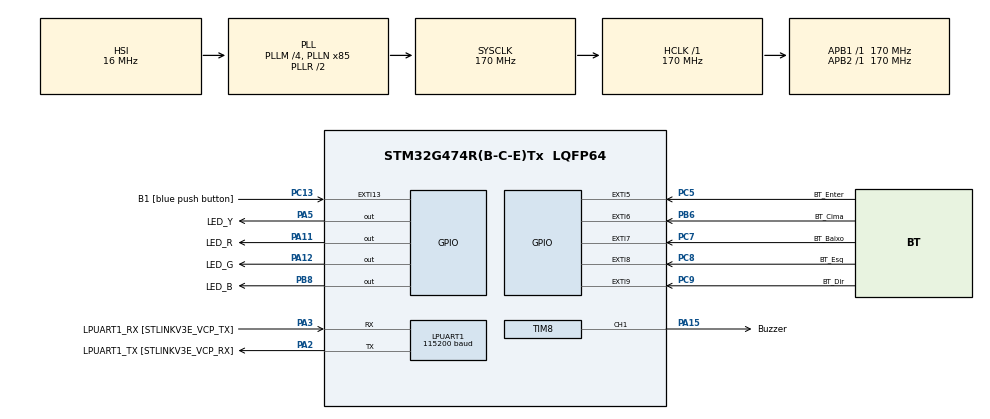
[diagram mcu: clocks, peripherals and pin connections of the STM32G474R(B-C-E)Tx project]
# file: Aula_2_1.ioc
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LPUART1.BaudRate=115200
LPUART1.WordLength=UART_WORDLENGTH_8B
Mcu.Family=STM32G4
Mcu.Name=STM32G474R(B-C-E)Tx
Mcu.Package=LQFP64
NVIC.EXTI15_10_IRQn=true\:0\:0\:false\:false\:true\:true\:true\:true
NVIC.EXTI9_5_IRQn=true\:0\:0\:false\:false\:true\:true\:true\:true
NVIC.PriorityGroup=NVIC_PRIORITYGROUP_4
NVIC.TIM6_DAC_IRQn=true\:0\:0\:false\:false\:true\:true\:true\:true
PA11.GPIO_Label=LED_R
PA11.Signal=GPIO_Output
PA12.GPIO_Label=LED_G
PA12.Signal=GPIO_Output
PA13.GPIO_Label=T_SWDIO
PA13.Mode=Serial_Wire
PA13.Signal=SYS_JTMS-SWDIO
PA14.GPIO_Label=T_SWCLK
PA14.Mode=Serial_Wire
PA14.Signal=SYS_JTCK-SWCLK
PA15.GPIO_Label=Buzzer
PA15.Signal=S_TIM8_CH1
PA2.GPIO_Label=LPUART1_TX [STLINKV3E_VCP_RX]
PA2.Mode=Asynchronous
PA2.Signal=LPUART1_TX
PA3.GPIO_Label=LPUART1_RX [STLINKV3E_VCP_TX]
PA3.Mode=Asynchronous
PA3.Signal=LPUART1_RX
PA5.GPIO_Label=LED_Y
PA5.Signal=GPIO_Output
PB3.GPIO_Label=T_SWO
PB3.Signal=SYS_JTDO-SWO
PB6.GPIO_Label=BT_Cima
PB6.GPIO_ModeDefaultEXTI=GPIO_MODE_IT_RISING_FALLING
PB6.Signal=GPXTI6
PB8-BOOT0.GPIO_Label=LED_B
PB8-BOOT0.Signal=GPIO_Output
PC13.GPIO_Label=B1 [blue push button]
PC13.GPIO_ModeDefaultEXTI=GPIO_MODE_IT_RISING_FALLING
PC13.Signal=GPXTI13
PC14-OSC32_IN.Mode=LSE-External-Oscillator
PC14-OSC32_IN.Signal=RCC_OSC32_IN
PC15-OSC32_OUT.Mode=LSE-External-Oscillator
PC15-OSC32_OUT.Signal=RCC_OSC32_OUT
PC5.GPIO_Label=BT_Enter
PC5.GPIO_ModeDefaultEXTI=GPIO_MODE_IT_RISING_FALLING
PC5.Signal=GPXTI5
PC7.GPIO_Label=BT_Baixo
PC7.GPIO_ModeDefaultEXTI=GPIO_MODE_IT_RISING_FALLING
PC7.Signal=GPXTI7
PC8.GPIO_Label=BT_Esq
PC8.GPIO_ModeDefaultEXTI=GPIO_MODE_IT_RISING_FALLING
PC8.Signal=GPXTI8
PC9.GPIO_Label=BT_Dir
PC9.GPIO_ModeDefaultEXTI=GPIO_MODE_IT_RISING_FALLING
PC9.Signal=GPXTI9
PF0-OSC_IN.Mode=HSE-External-Oscillator
PF0-OSC_IN.Signal=RCC_OSC_IN
PF1-OSC_OUT.Mode=HSE-External-Oscillator
PF1-OSC_OUT.Signal=RCC_OSC_OUT
ProjectManager.HeapSize=0x200
ProjectManager.StackSize=0x400
ProjectManager.TargetToolchain=STM32CubeIDE
RCC.ADC12Freq_Value=170000000
RCC.ADC345Freq_Value=170000000
RCC.AHBFreq_Value=170000000
RCC.APB1Freq_Value=170000000
RCC.APB1TimFreq_Value=170000000
RCC.APB2Freq_Value=170000000
RCC.APB2TimFreq_Value=170000000
RCC.CortexFreq_Value=170000000
RCC.EXTERNAL_CLOCK_VALUE=12288000
RCC.HCLKFreq_Value=170000000
RCC.HSE_VALUE=24000000
RCC.HSI48_VALUE=48000000
RCC.HSI_VALUE=16000000
RCC.PLLM=RCC_PLLM_DIV4
RCC.PLLN=85
RCC.RTCClockSelection=RCC_RTCCLKSOURCE_LSE
RCC.SYSCLKFreq_VALUE=170000000
RCC.SYSCLKSource=RCC_SYSCLKSOURCE_PLLCLK
RCC.USBFreq_Value=170000000
RCC.VCOOutputFreq_Value=340000000
SH.S_TIM8_CH1.0=TIM8_CH1,PWM Generation1 CH1
TIM2.Channel-Output\ Compare1\ No\ Output=TIM_CHANNEL_1
TIM2.PeriodNoDither=10000-1
TIM2.Prescaler=8500-1
TIM6.PeriodNoDither=1000-1
TIM6.Prescaler=85-1
TIM7.PeriodNoDither=10000-1
TIM7.Prescaler=8500-1
TIM8.Channel-PWM\ Generation1\ CH1=TIM_CHANNEL_1
TIM8.PeriodNoDither=1000-1
TIM8.Prescaler=85-1
TIM8.PulseNoDither_1=500
VP_SYS_VS_DBSignals.Mode=DisableDeadBatterySignals
VP_TIM2_VS_no_output1.Mode=Output Compare1 No Output
VP_TIM6_VS_ClockSourceINT.Mode=Enable_Timer
VP_TIM7_VS_ClockSourceINT.Mode=Enable_Timer
VP_TIM8_VS_ClockSourceINT.Mode=Internal
board=NUCLEO-G474RE

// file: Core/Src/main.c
/* USER CODE BEGIN Header */
/**
  ******************************************************************************
  * @file           : main.c
  * @brief          : Main program body
  ******************************************************************************
  * @attention
  *
  * Copyright (c) 2026 STMicroelectronics.
  * All rights reserved.
  *
  * This software is licensed under terms that can be found in the LICENSE file
  * in the root directory of this software component.
  * If no LICENSE file comes with this software, it is provided AS-IS.
  *
  ******************************************************************************
  */
/* USER CODE END Header */
#include "main.h"
#include "usart.h"
#include "tim.h"
#include "gpio.h"

/* USER CODE BEGIN PTD */
	typedef enum {
		  ESTADO_INICIAL, //IDLE
		  ESTADO_SELECAO, // SELECTED
		  ESTADO_PREPARANDO, //BREWING
		  ESTADO_FINALIZANDO //BIP
	  } EstadoMaquina;

	 typedef enum {
		  NENHUMA,
		  EXPRESSO,    // CIMA: Amarelo
		  CAPUCCINO,   // BAIXO: Vermelho
		  MOCHA,       // ESQUERDA: Verde
		  CHOCOLATE    // DIREITA: Azul
	  } BebidaSelecionada;

/* USER CODE END PTD */

/* USER CODE BEGIN PV */
  volatile EstadoMaquina estado_atual = ESTADO_INICIAL;
  volatile BebidaSelecionada bebida_atual = NENHUMA;
  volatile uint16_t contador_tempo = 0;
/* USER CODE END PV */

void SystemClock_Config(void);

int main(void)
{

  /* MCU Configuration--------------------------------------------------------*/

  /* Reset of all peripherals, Initializes the Flash interface and the Systick. */
  HAL_Init();

  /* Configure the system clock */
  SystemClock_Config();

  /* Initialize all configured peripherals */
  MX_GPIO_Init();
  MX_LPUART1_UART_Init();
  MX_TIM6_Init();
  MX_TIM7_Init();
  MX_TIM2_Init();
  MX_TIM8_Init();
  /* USER CODE BEGIN 2 */
  HAL_TIM_Base_Start_IT(&htim6);
  //HAL_TIM_Base_Start_IT(&htim7);

  /* USER CODE END 2 */

  /* Infinite loop */
  /* USER CODE BEGIN WHILE */
  while (1)
  {
	  /*
	  Atividade 1 - Aula 1
	  HAL_GPIO_TogglePin(LD2_GPIO_Port, LD2_Pin);
	  HAL_Delay(500);

	  //Atividade 2 - Aula 1
	  if (HAL_GPIO_ReadPin(BT_Enter_GPIO_Port, BT_Enter_Pin) == 1)
	  {
		  HAL_GPIO_TogglePin(LED_R_GPIO_Port, LED_R_Pin);
		  HAL_Delay(500);
	  }

	  // Atividade 3 - Aula 1
	  HAL_GPIO_TogglePin(LED_Y_GPIO_Port, LED_Y_Pin);
	  HAL_Delay(500);

	  while(HAL_GPIO_ReadPin(BT_Cima_GPIO_Port, BT_Cima_Pin)==1){
		  HAL_GPIO_TogglePin(Buzzer_GPIO_Port, Buzzer_Pin);
		  HAL_Delay(2);
	  }*/

	  // Atividade 1 - Aula 2

    /* USER CODE END WHILE */

  }
}

void SystemClock_Config(void)
{
  RCC_OscInitTypeDef RCC_OscInitStruct = {0};
  RCC_ClkInitTypeDef RCC_ClkInitStruct = {0};

  /** Configure the main internal regulator output voltage
  */
  HAL_PWREx_ControlVoltageScaling(PWR_REGULATOR_VOLTAGE_SCALE1_BOOST);

  /** Initializes the RCC Oscillators according to the specified parameters
  * in the RCC_OscInitTypeDef structure.
  */
  RCC_OscInitStruct.OscillatorType = RCC_OSCILLATORTYPE_HSI;
  RCC_OscInitStruct.HSIState = RCC_HSI_ON;
  RCC_OscInitStruct.HSICalibrationValue = RCC_HSICALIBRATION_DEFAULT;
  RCC_OscInitStruct.PLL.PLLState = RCC_PLL_ON;
  RCC_OscInitStruct.PLL.PLLSource = RCC_PLLSOURCE_HSI;
  RCC_OscInitStruct.PLL.PLLM = RCC_PLLM_DIV4;
  RCC_OscInitStruct.PLL.PLLN = 85;
  RCC_OscInitStruct.PLL.PLLP = RCC_PLLP_DIV2;
  RCC_OscInitStruct.PLL.PLLQ = RCC_PLLQ_DIV2;
  RCC_OscInitStruct.PLL.PLLR = RCC_PLLR_DIV2;
  if (HAL_RCC_OscConfig(&RCC_OscInitStruct) != HAL_OK)
  {
    Error_Handler();
  }

  /** Initializes the CPU, AHB and APB buses clocks
  */
  RCC_ClkInitStruct.ClockType = RCC_CLOCKTYPE_HCLK|RCC_CLOCKTYPE_SYSCLK
                              |RCC_CLOCKTYPE_PCLK1|RCC_CLOCKTYPE_PCLK2;
  RCC_ClkInitStruct.SYSCLKSource = RCC_SYSCLKSOURCE_PLLCLK;
  RCC_ClkInitStruct.AHBCLKDivider = RCC_SYSCLK_DIV1;
  RCC_ClkInitStruct.APB1CLKDivider = RCC_HCLK_DIV1;
  RCC_ClkInitStruct.APB2CLKDivider = RCC_HCLK_DIV1;

  if (HAL_RCC_ClockConfig(&RCC_ClkInitStruct, FLASH_LATENCY_4) != HAL_OK)
  {
    Error_Handler();
  }
}

/* USER CODE BEGIN 4 */
/* USER CODE BEGIN 4 */
void HAL_TIM_PeriodElapsedCallback(TIM_HandleTypeDef *htim) {
	if (htim->Instance == TIM6) {
        contador_tempo++;

        switch (estado_atual) {
            case ESTADO_INICIAL:
                if (contador_tempo >= 1000) {
                    HAL_GPIO_TogglePin(LED_R_GPIO_Port, LED_R_Pin);
                    HAL_GPIO_TogglePin(LED_G_GPIO_Port, LED_G_Pin);
                    HAL_GPIO_TogglePin(LED_B_GPIO_Port, LED_B_Pin);
                    HAL_GPIO_TogglePin(LED_Y_GPIO_Port, LED_Y_Pin); // Todos os leds piscam ao mesmo tempo antes da seleção da bebida escolhida
                    contador_tempo = 0;
                }
                break;

            case ESTADO_PREPARANDO:
                if (contador_tempo < 20000) {
                    if (contador_tempo % 1000 == 0) {
                        switch (bebida_atual) {
                            case EXPRESSO:  HAL_GPIO_TogglePin(LED_Y_GPIO_Port, LED_Y_Pin); break;
                            case CAPUCCINO: HAL_GPIO_TogglePin(LED_R_GPIO_Port, LED_R_Pin); break;
                            case MOCHA:     HAL_GPIO_TogglePin(LED_G_GPIO_Port, LED_G_Pin); break;
                            case CHOCOLATE: HAL_GPIO_TogglePin(LED_B_GPIO_Port, LED_B_Pin); break; // Pisca o led referente à escolha da bebida durante a confecção
                            default: break;
                        }
                    }
                } else {
                    estado_atual = ESTADO_FINALIZANDO;
                    contador_tempo = 0;
                    HAL_GPIO_WritePin(LED_R_GPIO_Port, LED_R_Pin, GPIO_PIN_RESET);
                    HAL_GPIO_WritePin(LED_G_GPIO_Port, LED_G_Pin, GPIO_PIN_RESET);
                    HAL_GPIO_WritePin(LED_B_GPIO_Port, LED_B_Pin, GPIO_PIN_RESET);
                    HAL_GPIO_WritePin(LED_Y_GPIO_Port, LED_Y_Pin, GPIO_PIN_RESET); // Desliga todos os leds ao término da preparação da bebida
                }
                break;

            case ESTADO_FINALIZANDO:
				if (contador_tempo == 1)         HAL_TIM_PWM_Start(&htim8, TIM_CHANNEL_1);
				else if (contador_tempo == 500)  HAL_TIM_PWM_Stop(&htim8, TIM_CHANNEL_1); // 1º Bip (0 a 500ms)

				else if (contador_tempo == 1000) HAL_TIM_PWM_Start(&htim8, TIM_CHANNEL_1);
				else if (contador_tempo == 1500) HAL_TIM_PWM_Stop(&htim8, TIM_CHANNEL_1); // 2º Bip (1000 a 1500ms)

				else if (contador_tempo == 2000) HAL_TIM_PWM_Start(&htim8, TIM_CHANNEL_1);
				else if (contador_tempo == 2500) HAL_TIM_PWM_Stop(&htim8, TIM_CHANNEL_1); // 3º Bip (2000 a 2500ms)

				if (contador_tempo >= 3000) { // Fim do ciclo aos 3 segundos
					HAL_TIM_PWM_Stop(&htim8, TIM_CHANNEL_1); // Garantia física que o buzzer está mudo
					estado_atual = ESTADO_INICIAL;
					bebida_atual = NENHUMA;
					contador_tempo = 0;
				}
				break;

            default:
                break;
        }
    }
}

void HAL_GPIO_EXTI_Callback(uint16_t GPIO_Pin) {
    if (estado_atual == ESTADO_PREPARANDO) return;

    GPIO_PinState estado_botao;

    // Identifica qual porta ler usando switch
    switch (GPIO_Pin) {
        case BT_Cima_Pin: // PB6
            estado_botao = HAL_GPIO_ReadPin(GPIOB, GPIO_Pin);
            break;
        default:          // PC5, PC7, PC8, PC9
            estado_botao = HAL_GPIO_ReadPin(GPIOC, GPIO_Pin);
            break;
    }

    // Controle do Buzzer para quando for pressionado um botão o buzzer ser acionado junto
    if (estado_botao == GPIO_PIN_SET) {
        HAL_TIM_PWM_Start(&htim8, TIM_CHANNEL_1);
    } else {
        HAL_TIM_PWM_Stop(&htim8, TIM_CHANNEL_1);
    }

    if (estado_botao == GPIO_PIN_SET) {
        switch (GPIO_Pin) {
            case BT_Cima_Pin: // Pressiono o botão Cima e o led amarelo para de piscar, enquanto o restante fica apagado
                bebida_atual = EXPRESSO;
                estado_atual = ESTADO_SELECAO;
                HAL_GPIO_WritePin(LED_Y_GPIO_Port, LED_Y_Pin, GPIO_PIN_SET);
                HAL_GPIO_WritePin(LED_R_GPIO_Port, LED_R_Pin, GPIO_PIN_RESET);
                HAL_GPIO_WritePin(LED_G_GPIO_Port, LED_G_Pin, GPIO_PIN_RESET);
                HAL_GPIO_WritePin(LED_B_GPIO_Port, LED_B_Pin, GPIO_PIN_RESET);
                break;

            case BT_Baixo_Pin: // Pressiono o botão Baixo e o led vermelho para de piscar, enquanto o restante fica apagado
                bebida_atual = CAPUCCINO;
                estado_atual = ESTADO_SELECAO;
                HAL_GPIO_WritePin(LED_Y_GPIO_Port, LED_Y_Pin, GPIO_PIN_RESET);
                HAL_GPIO_WritePin(LED_R_GPIO_Port, LED_R_Pin, GPIO_PIN_SET);
                HAL_GPIO_WritePin(LED_G_GPIO_Port, LED_G_Pin, GPIO_PIN_RESET);
                HAL_GPIO_WritePin(LED_B_GPIO_Port, LED_B_Pin, GPIO_PIN_RESET);
                break;

            case BT_Esq_Pin: // Pressiono o botão Esquerda e o led verde para de piscar, enquanto o restante fica apagado
                bebida_atual = MOCHA;
                estado_atual = ESTADO_SELECAO;
                HAL_GPIO_WritePin(LED_Y_GPIO_Port, LED_Y_Pin, GPIO_PIN_RESET);
                HAL_GPIO_WritePin(LED_R_GPIO_Port, LED_R_Pin, GPIO_PIN_RESET);
                HAL_GPIO_WritePin(LED_G_GPIO_Port, LED_G_Pin, GPIO_PIN_SET);
                HAL_GPIO_WritePin(LED_B_GPIO_Port, LED_B_Pin, GPIO_PIN_RESET);
                break;

            case BT_Dir_Pin: // Pressiono o botão Direita e o led azul para de piscar, enquanto o restante fica apagado
                bebida_atual = CHOCOLATE;
                estado_atual = ESTADO_SELECAO;
                HAL_GPIO_WritePin(LED_Y_GPIO_Port, LED_Y_Pin, GPIO_PIN_RESET);
                HAL_GPIO_WritePin(LED_R_GPIO_Port, LED_R_Pin, GPIO_PIN_RESET);
                HAL_GPIO_WritePin(LED_G_GPIO_Port, LED_G_Pin, GPIO_PIN_RESET);
                HAL_GPIO_WritePin(LED_B_GPIO_Port, LED_B_Pin, GPIO_PIN_SET);
                break;

            case BT_Enter_Pin: // Ao pressionar o botão Enter a seleção da bebida é realizada e o buzzer é forçado a parar
                if (estado_atual == ESTADO_SELECAO && bebida_atual != NENHUMA) {
                    estado_atual = ESTADO_PREPARANDO;
                    contador_tempo = 0;

					HAL_TIM_PWM_Stop(&htim8, TIM_CHANNEL_1);
                }
                break;

            default:
                break;
        }
    }
}
/* USER CODE END 4 */

void Error_Handler(void)
{
  __disable_irq();
  while (1)
  {
  }
}
